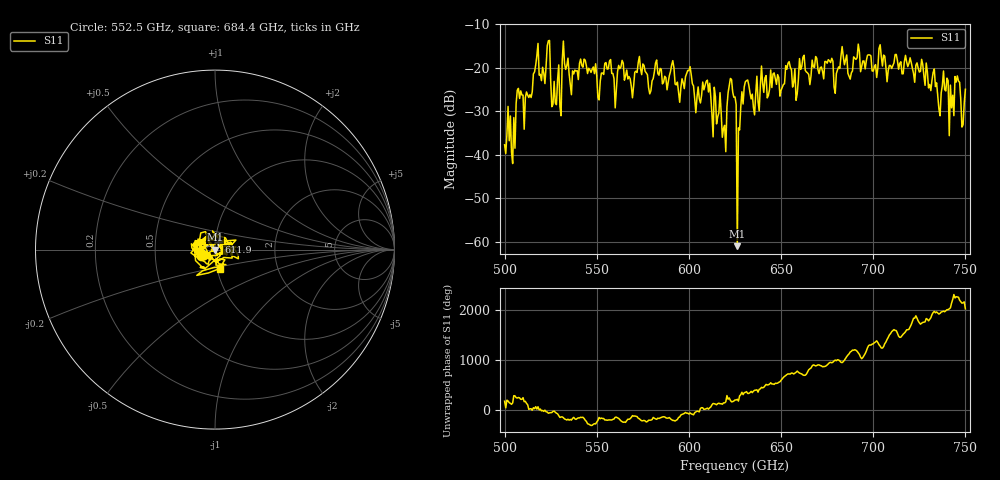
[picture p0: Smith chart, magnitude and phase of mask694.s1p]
!Created with skrf (http://scikit-rf.org).
# GHz S MA R 50.0
!freq magS11 angS11
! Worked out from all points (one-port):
!   401 points, 500 GHz to 750 GHz, reference 50 ohm
!   lowest |S11| = -61.0 dB at 626.2 GHz (marker M1), VSWR 1.00, Z = 49.9 - j0.0552 ohm
!   |S11| at or under -10 dB: start of sweep to end of sweep
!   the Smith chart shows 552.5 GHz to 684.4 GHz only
!   S11 on the Smith chart (normalised r, x): 552.5 GHz: 0.85, -0.06; 611.9 GHz: 1.04, +0.09; 684.4 GHz: 1.03, -0.22
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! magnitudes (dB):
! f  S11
! 500 GHz  -37.7
! 513.8 GHz  -26.2
! 516.9 GHz  -19.3
! 523.8 GHz  -13.8
! 526.9 GHz  -23.1
! 531.2 GHz  -18.5
! 533.1 GHz  -20.3
! 552.5 GHz  -21.2
! 562.5 GHz  -20.2
! 579.4 GHz  -25.2
! 590.6 GHz  -19.3
! 593.8 GHz  -23.3
! 600 GHz  -20.6
! 611.9 GHz  -26.7
! 618.8 GHz  -33.9
! 623.1 GHz  -22.7
! 624.4 GHz  -26.7
! 625 GHz  -26.7
! 626.2 GHz  -61.0
! 631.2 GHz  -22.9
! 635 GHz  -29.1
! 656.2 GHz  -24.4
! 680 GHz  -21.3
! 684.4 GHz  -19.3
! 687.5 GHz  -22.6
! 691.2 GHz  -17.7
! 718.8 GHz  -19.7
! 750 GHz  -24.9
